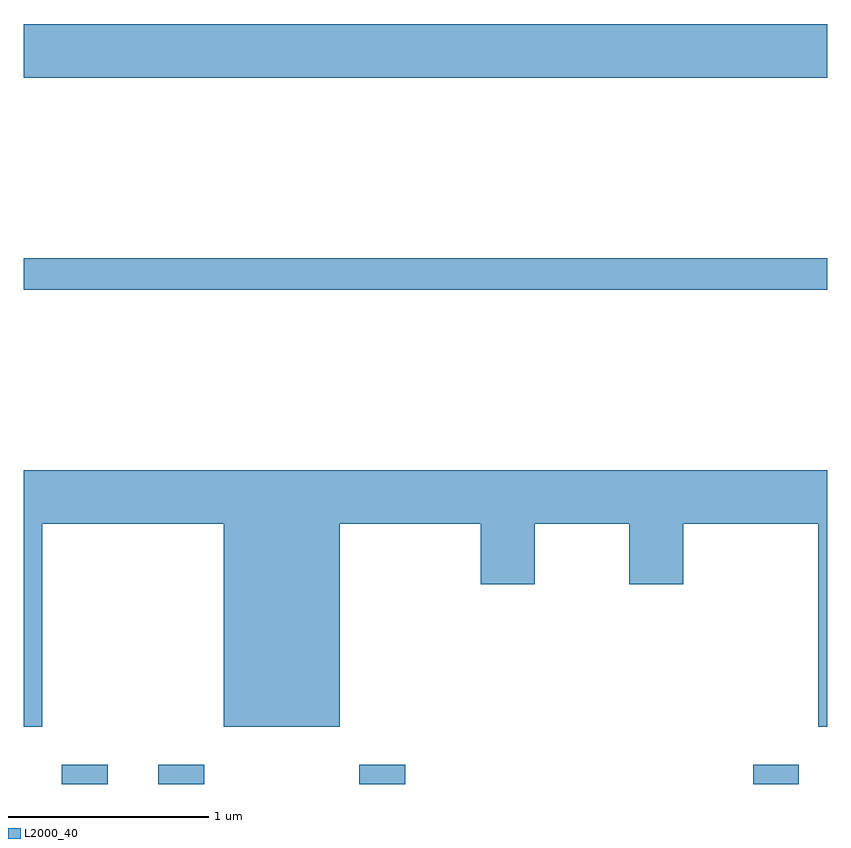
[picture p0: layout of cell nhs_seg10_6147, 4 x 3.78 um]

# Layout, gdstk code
import gdstk
lib = gdstk.Library(unit=1e-6, precision=1e-09)
def R(c, l, rs):  # rectangles x0, y0, x1, y1
    for r in rs: c.add(gdstk.rectangle(r[:2], r[2:], *l))
def P(c, l, *ps):  # polygons
    for p in ps: c.add(gdstk.Polygon(p, *l))
L2000_40 = (2000, 40)

nhs_seg10_6147 = lib.new_cell('nhs_seg10_6147')
R(nhs_seg10_6147, L2000_40, [(365.801,2212.522,366.029,2212.619), (366.281,2212.522,366.509,2212.619), (367.281,2212.522,367.509,2212.619), (369.241,2212.522,369.469,2212.619), (365.611,2214.981,369.611,2215.139), (365.611,2216.036,369.611,2216.304)])
P(nhs_seg10_6147, L2000_40, [(365.611,2212.806),(365.704,2212.806),(365.704,2213.816),(366.606,2213.816),(366.606,2212.806),(367.184,2212.806),(367.184,2213.816),(367.886,2213.816),(367.886,2213.516),(368.154,2213.516),(368.154,2213.816),(368.626,2213.816),(368.626,2213.516),(368.894,2213.516),(368.894,2213.816),(369.566,2213.816),(369.566,2212.806),(369.611,2212.806),(369.611,2214.084),(365.611,2214.084)])

lib.write_gds('nhs_seg10_6147.gds')
